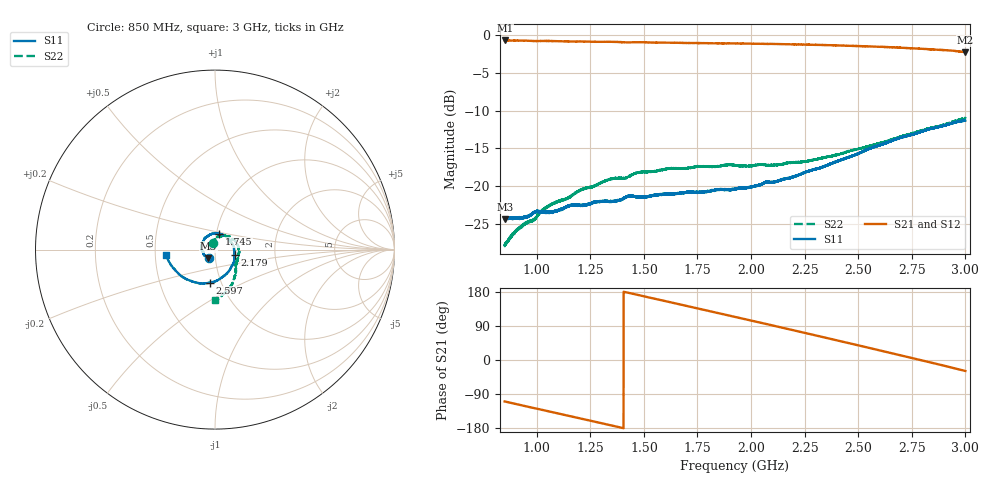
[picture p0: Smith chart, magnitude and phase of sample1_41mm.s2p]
!Keysight Technologies,N5247A,US51370522,A.10.65.04
!Date: Monday, December 21, 2020 12:55:37
!Correction: S11(Full 2 Port(1,2))
!S21(Full 2 Port(1,2))
!S12(Full 2 Port(1,2))
!S22(Full 2 Port(1,2))
!S2P File: Measurements: S11, S21, S12, S22:
# Hz S  dB  R 50
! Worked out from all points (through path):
!   12801 points, 850 MHz to 3 GHz, reference 50 ohm
!   highest |S21| = -0.70 dB at 850.3 MHz (marker M1); lowest = -2.2 dB at 3 GHz (marker M2)
!   group delay of S21, straight-line fit = 360 ps
!   lowest |S11| = -24.4 dB at 852.7 MHz (marker M3), VSWR 1.13, Z = 46.3 - j4.44 ohm
!   |S11| at or under -10 dB: start of sweep to end of sweep
!   |S22| runs from -28.0 to -11.0 dB; largest |S21 - S12| = 0.0023
!   S11 on the Smith chart (normalised r, x): 850 MHz: 0.93, -0.09; 1.745 GHz: 1.03, +0.18; 2.179 GHz: 1.24, -0.07; 2.597 GHz: 0.88, -0.34; 3 GHz: 0.57, -0.03
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8.5e8  -24.41 -126.3  -0.71 -109.4  -0.71 -109.4  -27.87 109.7
8.503359e8  -24.39 -126.8  -0.70 -109.5  -0.71 -109.5  -27.85 109.2
8.526875e8  -24.41 -127.5  -0.71 -109.8  -0.71 -109.8  -27.76 109.3
9.109727e8  -24.19 -138.9  -0.72 -117.1  -0.72 -117.1  -25.71 98.2
9.863906e8  -23.50 -150.2  -0.78 -126.8  -0.78 -126.8  -24.48 85.8
1.026199e9  -23.43 -160.1  -0.77 -131.7  -0.77 -131.7  -23.21 81.8
1.208445e9  -22.56 168.5  -0.84 -154.9  -0.84 -154.9  -20.49 55.8
1.37759e9  -21.93 141.4  -0.91 -176.5  -0.91 -176.5  -18.93 33.3
1.477699e9  -21.39 122.4  -0.93 171.0  -0.94 171.0  -18.20 23.0
1.566723e9  -21.22 108.2  -0.98 159.6  -0.99 159.6  -17.94 13.2
1.745105e9  -20.81 74.5  -1.05 137.0  -1.05 136.9  -17.46 -3.7
1.925e9  -20.40 38.6  -1.09 113.9  -1.10 113.9  -17.25 -19.8
2.050473e9  -19.77 13.9  -1.14 97.6  -1.15 97.6  -17.16 -27.6
2.179473e9  -18.92 -14.9  -1.22 80.9  -1.22 80.8  -16.89 -33.6
2.283445e9  -17.91 -37.2  -1.29 67.2  -1.28 67.2  -16.54 -37.9
2.443016e9  -16.30 -69.4  -1.40 46.2  -1.40 46.2  -15.50 -45.9
2.597379e9  -14.59 -98.7  -1.53 25.8  -1.54 25.8  -14.34 -56.0
2.641723e9  -14.18 -106.7  -1.59 19.8  -1.59 19.8  -13.97 -58.9
2.814562e9  -12.59 -138.1  -1.83 -3.4  -1.83 -3.4  -12.48 -72.8
2.907617e9  -11.93 -155.5  -2.00 -16.1  -1.99 -16.1  -11.78 -80.8
2.999664e9  -11.29 -174.1  -2.25 -28.9  -2.25 -28.9  -10.99 -90.0
3e9  -11.31 -174.1  -2.25 -28.9  -2.25 -29.0  -10.99 -90.2
